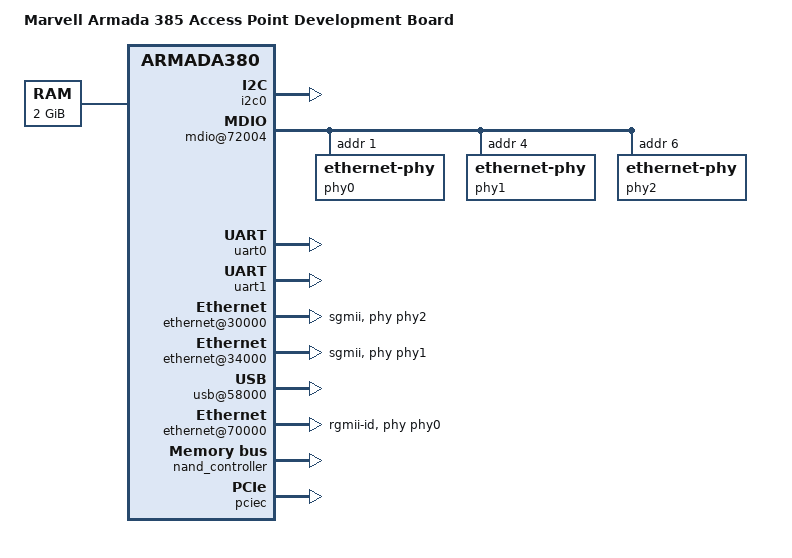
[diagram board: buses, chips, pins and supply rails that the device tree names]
// SPDX-License-Identifier: (GPL-2.0+ OR MIT)
/*
 * Copyright (C) 2019 Marvell International Ltd.
 *
 */

/dts-v1/;
#include "armada-385.dtsi"

#include <dt-bindings/gpio/gpio.h>

/ {
	model = "Marvell Armada 385 Access Point Development Board";
	compatible = "marvell,a385-db-ap", "marvell,armada385",
		     "marvell,armada380";

	aliases {
		ethernet0 = &eth0;
		ethernet1 = &eth1;
		ethernet2 = &eth2;
		serial0 = &uart0;
		serial1 = &uart1;
	};

	chosen {
		stdout-path = "serial1:115200n8";
	};

	memory {
		device_type = "memory";
		reg = <0x00000000 0x80000000>; /* 2GB */
	};

	soc {
		ranges = <MBUS_ID(0xf0, 0x01) 0 0xf1000000 0x100000
			  MBUS_ID(0x01, 0x1d) 0 0xfff00000 0x100000>;

		internal-regs {

			i2c0: i2c@11000 {
				pinctrl-names = "default";
				pinctrl-0 = <&i2c0_pins>;
				status = "okay";

				/*
				 * This bus is wired to two EEPROM
				 * sockets, one of which holding the
				 * board ID used by the	bootloader.
				 * Erasing this EEPROM's content will
				 * brick the board.
				 * Use this bus with caution.
				 */
			};
			mdio@72004 {
				pinctrl-names = "default";
				pinctrl-0 = <&mdio_pins>;

				phy0: ethernet-phy@1 {
					reg = <1>;
				};

				phy1: ethernet-phy@4 {
					reg = <4>;
				};

				phy2: ethernet-phy@6 {
					reg = <6>;
				};
			};

			/* UART0 is exposed through the JP8 connector */
			uart0: serial@12000 {
				pinctrl-names = "default";
				pinctrl-0 = <&uart0_pins>;
				status = "okay";
				u-boot,dm-pre-reloc;
			};

			/*
			 * UART1 is exposed through a FTDI chip
			 * wired to the mini-USB connector
			 */
			uart1: serial@12100 {
				pinctrl-names = "default";
				pinctrl-0 = <&uart1_pins>;
				status = "okay";
				u-boot,dm-pre-reloc;
			};

			pinctrl@18000 {
				xhci0_vbus_pins: xhci0-vbus-pins {
					marvell,pins = "mpp44";
					marvell,function = "gpio";
				};
			};

			ethernet@30000 {
				status = "okay";
				phy = <&phy2>;
				phy-mode = "sgmii";
			};

			ethernet@34000 {
				status = "okay";
				phy = <&phy1>;
				phy-mode = "sgmii";
			};

			usb@58000 {
				status = "okay";
			};

			ethernet@70000 {
				pinctrl-names = "default";

				/*
				 * The Reference Clock 0 is used to
				 * provide a clock to the PHY
				 */
				pinctrl-0 = <&ge0_rgmii_pins>, <&ref_clk0_pins>;
				status = "okay";
				phy = <&phy0>;
				phy-mode = "rgmii-id";
			};

			nand_controller: nand-controller@d0000 {
				status = "okay";
				#address-cells = <1>;
				#size-cells = <1>;

				num-cs = <1>;
				nand-ecc-strength = <4>;
				nand-ecc-step-size = <512>;
				marvell,nand-keep-config;
				marvell,nand-enable-arbiter;
				nand-on-flash-bbt;

				partition@0 {
					label = "U-Boot";
					reg = <0x00000000 0x00800000>;
					read-only;
				};

				partition@800000 {
					label = "uImage";
					reg = <0x00800000 0x00400000>;
					read-only;
				};

				partition@c00000 {
					label = "Root";
					reg = <0x00c00000 0x3f400000>;
				};
			};

		};

		pciec: pcie {
			status = "okay";

			/*
			 * The three PCIe units are accessible through
			 * standard mini-PCIe slots on the board.
			 */
			pcie@1,0 {
				/* Port 0, Lane 0 */
				status = "okay";
			};

			pcie@2,0 {
				/* Port 1, Lane 0 */
				status = "okay";
			};

			pcie@3,0 {
				/* Port 2, Lane 0 */
				status = "okay";
			};
		};
	};
};
